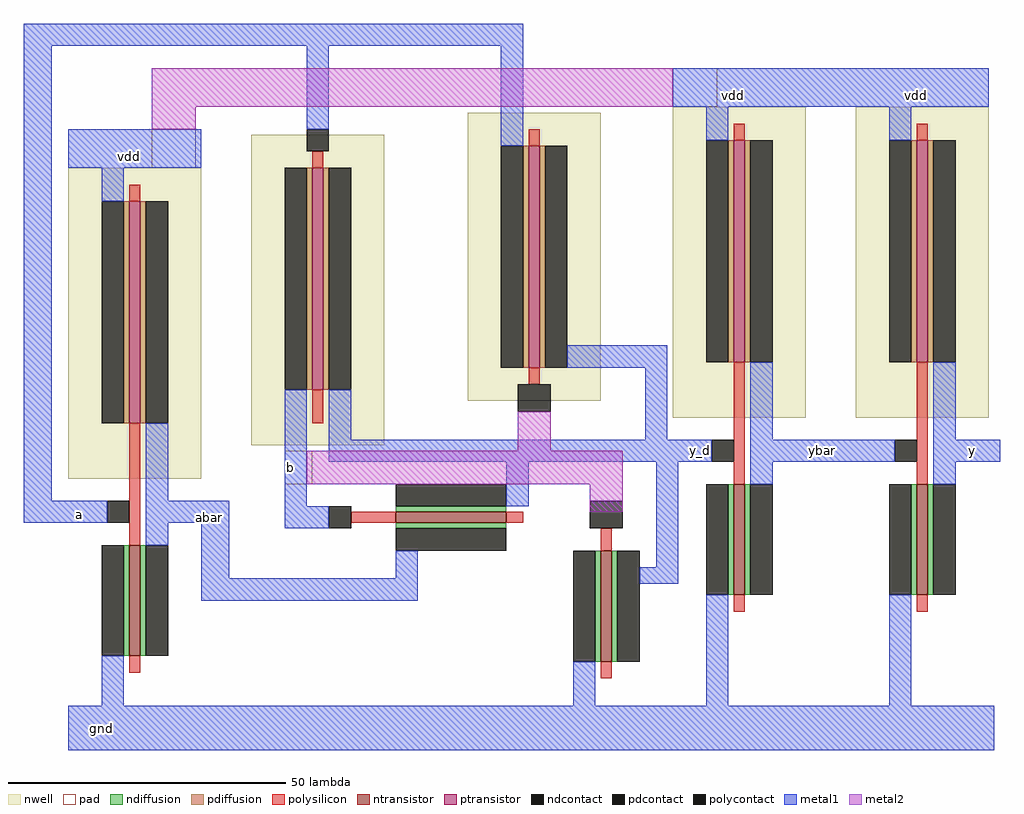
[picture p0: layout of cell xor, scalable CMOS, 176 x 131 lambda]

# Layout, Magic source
magic
tech scmos
<< nwell >>
rect -16 -2 8 54
rect 17 4 41 60
rect 56 12 80 64
rect 93 9 117 65
rect 126 9 150 65
<< ntransistor >>
rect 43 -10 63 -8
rect -5 -34 -3 -14
rect 80 -35 82 -15
rect 104 -23 106 -3
rect 137 -23 139 -3
<< ptransistor >>
rect -5 8 -3 48
rect 28 14 30 54
rect 67 18 69 58
rect 104 19 106 59
rect 137 19 139 59
<< ndiffusion >>
rect 43 -8 63 -7
rect 43 -11 63 -10
rect -6 -34 -5 -14
rect -3 -34 -2 -14
rect 79 -35 80 -15
rect 82 -35 83 -15
rect 103 -23 104 -3
rect 106 -23 107 -3
rect 136 -23 137 -3
rect 139 -23 140 -3
<< pdiffusion >>
rect -6 8 -5 48
rect -3 8 -2 48
rect 27 14 28 54
rect 30 14 31 54
rect 66 18 67 58
rect 69 18 70 58
rect 103 19 104 59
rect 106 19 107 59
rect 136 19 137 59
rect 139 19 140 59
<< ndcontact >>
rect 43 -7 63 -3
rect -10 -34 -6 -14
rect -2 -34 2 -14
rect 43 -15 63 -11
rect 75 -35 79 -15
rect 83 -35 87 -15
rect 99 -23 103 -3
rect 107 -23 111 -3
rect 132 -23 136 -3
rect 140 -23 144 -3
<< pdcontact >>
rect -10 8 -6 48
rect -2 8 2 48
rect 23 14 27 54
rect 31 14 35 54
rect 62 18 66 58
rect 70 18 74 58
rect 99 19 103 59
rect 107 19 111 59
rect 132 19 136 59
rect 140 19 144 59
<< polysilicon >>
rect 67 58 69 61
rect 104 59 106 62
rect 137 59 139 62
rect 28 54 30 57
rect -5 48 -3 51
rect 67 15 69 18
rect 28 8 30 14
rect -5 -14 -3 8
rect 104 -3 106 19
rect 137 -3 139 19
rect 35 -10 43 -8
rect 63 -10 66 -8
rect 80 -15 82 -11
rect -5 -37 -3 -34
rect 104 -26 106 -23
rect 137 -26 139 -23
rect 80 -38 82 -35
<< polycontact >>
rect 27 57 31 61
rect 65 10 71 15
rect -9 -10 -5 -6
rect 100 1 104 5
rect 133 1 137 5
rect 31 -11 35 -7
rect 78 -11 84 -6
<< metal1 >>
rect -24 76 66 80
rect -24 -6 -19 76
rect 27 61 31 76
rect -16 54 8 61
rect 62 58 66 76
rect 93 65 150 72
rect 99 59 103 65
rect 132 59 136 65
rect -10 48 -6 54
rect -2 -6 2 8
rect -24 -10 -9 -6
rect -2 -10 13 -6
rect -2 -14 2 -10
rect 8 -20 13 -10
rect 23 -7 27 14
rect 74 18 92 22
rect 31 5 35 14
rect 88 5 92 18
rect 107 5 111 19
rect 140 5 144 19
rect 31 1 100 5
rect 107 1 133 5
rect 140 1 152 5
rect 63 -7 67 1
rect 23 -11 31 -7
rect 43 -20 47 -15
rect 8 -24 47 -20
rect -10 -43 -6 -34
rect 90 -18 94 1
rect 107 -3 111 1
rect 140 -3 144 1
rect 87 -21 94 -18
rect 75 -43 79 -35
rect 99 -43 103 -23
rect 132 -43 136 -23
rect -16 -51 151 -43
<< metal2 >>
rect -1 65 93 72
rect -1 61 7 65
rect 65 3 71 10
rect 27 -3 84 3
rect 78 -8 84 -3
<< pad >>
rect 93 65 101 72
rect -1 54 7 61
rect 23 -3 28 3
<< labels >>
rlabel metal1 -17 -10 -11 -7 3 a
rlabel metal1 7 -10 12 -8 7 abar
rlabel metal1 -5 56 -5 56 5 vdd
rlabel metal1 120 3 120 3 1 ybar
rlabel metal1 147 3 147 3 7 y
rlabel metal1 104 67 104 67 5 vdd
rlabel metal1 137 67 137 67 5 vdd
rlabel metal1 -10 -47 -10 -47 1 gnd
rlabel metal1 24 0 24 0 1 b
rlabel metal1 98 3 98 3 1 y_d
<< end >>
